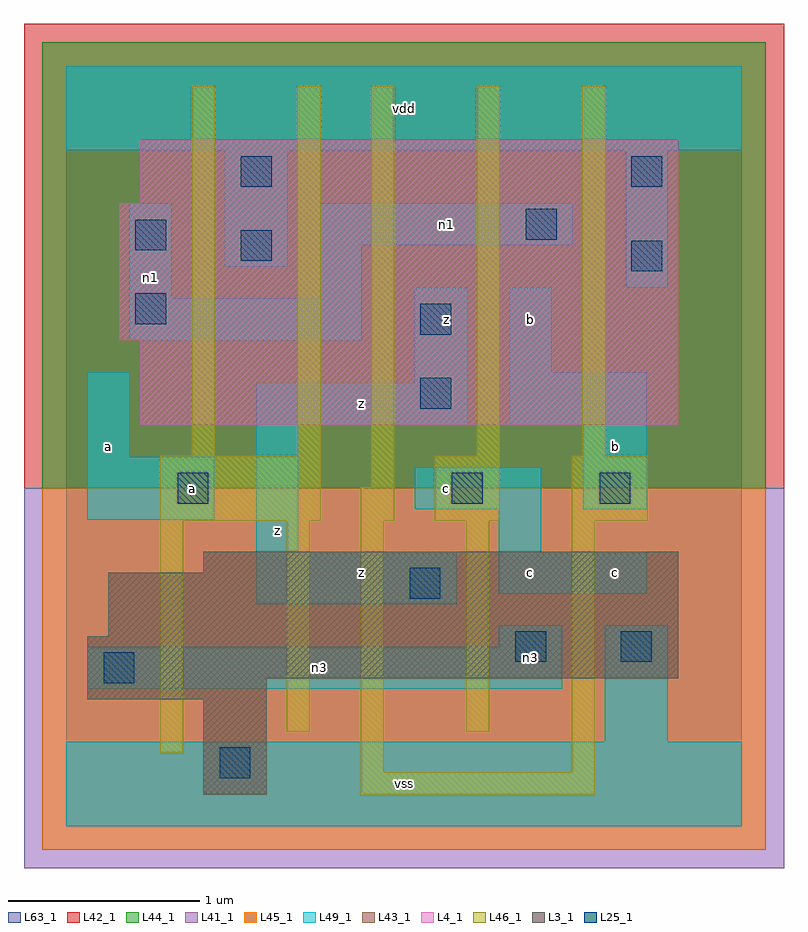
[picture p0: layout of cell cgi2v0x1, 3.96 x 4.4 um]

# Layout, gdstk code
import gdstk
lib = gdstk.Library(unit=1e-6, precision=1e-09)
def R(c, l, rs):  # rectangles x0, y0, x1, y1
    for r in rs: c.add(gdstk.rectangle(r[:2], r[2:], *l))
L3_1 = (3, 1)
L4_1 = (4, 1)
L25_1 = (25, 1)
L41_1 = (41, 1)
L42_1 = (42, 1)
L43_1 = (43, 1)
L44_1 = (44, 1)
L45_1 = (45, 1)
L46_1 = (46, 1)
L49_1 = (49, 1)
L63_1 = (63, 1)

cgi2v0x1 = lib.new_cell('cgi2v0x1')
R(cgi2v0x1, L3_1, [(0.715,0.165,1.045,0.66), (0.11,0.66,1.045,0.77), (0.11,0.77,3.19,0.99), (0.22,0.99,3.19,1.32), (0.715,1.32,3.19,1.43)])
R(cgi2v0x1, L4_1, [(0.385,2.09,3.19,2.53), (0.275,2.53,3.19,3.245), (0.385,3.245,3.19,3.575)])
R(cgi2v0x1, L25_1, [(0.8,0.25,0.96,0.41), (0.195,0.745,0.355,0.905), (2.34,0.855,2.5,1.015), (2.89,0.855,3.05,1.015), (1.79,1.185,1.95,1.345), (0.58,1.68,0.74,1.84), (2.01,1.68,2.17,1.84), (2.78,1.68,2.94,1.84), (1.845,2.175,2.005,2.335), (1.845,2.56,2.005,2.72), (0.36,2.615,0.52,2.775), (2.945,2.89,3.105,3.05), (0.91,2.945,1.07,3.105), (0.36,3,0.52,3.16), (2.395,3.055,2.555,3.215), (0.91,3.33,1.07,3.49), (2.945,3.33,3.105,3.49)])
R(cgi2v0x1, L41_1, [(-0.22,-0.22,3.74,1.76)])
R(cgi2v0x1, L42_1, [(-0.22,1.76,3.74,4.18)])
R(cgi2v0x1, L43_1, [(0.715,0.165,1.045,0.66), (0.11,0.66,1.045,0.77), (0.11,0.77,3.19,0.99), (0.22,0.99,3.19,1.32), (0.715,1.32,3.19,1.43), (0.385,2.09,3.19,2.53), (0.275,2.53,3.19,3.245), (0.385,3.245,3.19,3.575)])
R(cgi2v0x1, L44_1, [(-0.125,1.76,3.645,4.085)])
R(cgi2v0x1, L45_1, [(-0.125,-0.125,3.645,1.76)])
R(cgi2v0x1, L46_1, [(1.535,0.16,2.755,0.28), (1.535,0.28,1.655,1.59), (2.635,0.28,2.755,1.59), (0.49,0.38,0.61,1.59), (1.15,0.49,1.27,1.59), (2.085,0.49,2.205,1.59), (0.49,1.59,1.325,1.93), (1.535,1.59,1.71,1.765), (1.92,1.59,2.26,1.93), (2.635,1.59,3.03,1.93), (1.59,1.765,1.71,3.855), (0.655,1.93,0.775,3.855), (1.205,1.93,1.325,3.855), (2.14,1.93,2.26,3.855), (2.69,1.93,2.81,3.855)])
R(cgi2v0x1, L49_1, [(0,0,3.52,0.44), (2.805,0.44,3.135,1.045), (0.11,0.715,2.585,0.935), (2.255,0.935,2.585,1.045), (0.99,1.155,2.035,1.43), (2.255,1.21,3.025,1.43), (0.99,1.43,1.21,2.09), (2.255,1.43,2.475,1.65), (0.11,1.595,0.77,1.925), (1.815,1.65,2.475,1.87), (2.695,1.65,3.025,2.09), (0.11,1.925,0.33,2.365), (0.99,2.09,2.09,2.31), (2.31,2.09,3.025,2.365), (1.815,2.31,2.09,2.805), (2.31,2.365,2.53,2.805), (0.33,2.53,1.54,2.75), (0.33,2.75,0.55,3.245), (1.32,2.75,1.54,3.025), (2.915,2.805,3.135,3.52), (0.825,2.915,1.155,3.52), (1.32,3.025,2.64,3.245), (0,3.52,3.52,3.96)])
R(cgi2v0x1, L63_1, [(0,0,3.52,3.96)])
cgi2v0x1.add(gdstk.Label('a', (0.66,1.76), layer=49, texttype=1))
cgi2v0x1.add(gdstk.Label('a', (0.22,1.98), layer=49, texttype=1))
cgi2v0x1.add(gdstk.Label('n1', (0.44,2.86), layer=49, texttype=1))
cgi2v0x1.add(gdstk.Label('z', (1.54,1.32), layer=49, texttype=1))
cgi2v0x1.add(gdstk.Label('z', (1.1,1.54), layer=49, texttype=1))
cgi2v0x1.add(gdstk.Label('z', (1.54,2.2), layer=49, texttype=1))
cgi2v0x1.add(gdstk.Label('vss', (1.76,0.22), layer=49, texttype=1))
cgi2v0x1.add(gdstk.Label('n3', (1.32,0.825), layer=49, texttype=1))
cgi2v0x1.add(gdstk.Label('n3', (2.42,0.88), layer=49, texttype=1))
cgi2v0x1.add(gdstk.Label('c', (1.98,1.76), layer=49, texttype=1))
cgi2v0x1.add(gdstk.Label('c', (2.42,1.32), layer=49, texttype=1))
cgi2v0x1.add(gdstk.Label('z', (1.98,2.64), layer=49, texttype=1))
cgi2v0x1.add(gdstk.Label('b', (2.42,2.64), layer=49, texttype=1))
cgi2v0x1.add(gdstk.Label('n1', (1.98,3.135), layer=49, texttype=1))
cgi2v0x1.add(gdstk.Label('vdd', (1.76,3.74), layer=49, texttype=1))
cgi2v0x1.add(gdstk.Label('c', (2.86,1.32), layer=49, texttype=1))
cgi2v0x1.add(gdstk.Label('b', (2.86,1.98), layer=49, texttype=1))

lib.write_gds('cgi2v0x1.gds')
